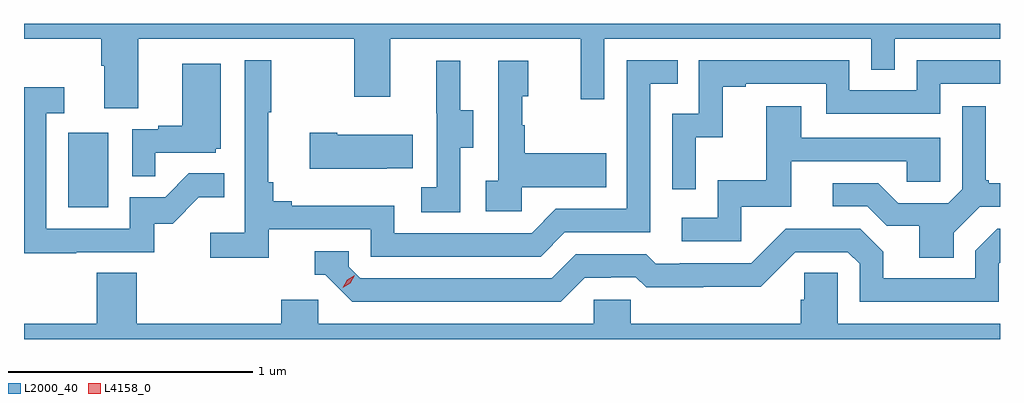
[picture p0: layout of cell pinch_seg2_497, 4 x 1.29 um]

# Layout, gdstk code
import gdstk
lib = gdstk.Library(unit=1e-6, precision=1e-09)
def R(c, l, rs):  # rectangles x0, y0, x1, y1
    for r in rs: c.add(gdstk.rectangle(r[:2], r[2:], *l))
def P(c, l, *ps):  # polygons
    for p in ps: c.add(gdstk.Polygon(p, *l))
L2000_40 = (2000, 40)
L4158_0 = (4158, 0)

pinch_seg2_497 = lib.new_cell('pinch_seg2_497')
R(pinch_seg2_497, L2000_40, [(972.512,584.34,972.676,584.647)])
P(pinch_seg2_497, L2000_40, [(972.799,585.032),(973.684,585.032),(973.684,584.793),(973.831,584.793),(973.831,585.032),(974.612,585.032),(974.612,584.784),(974.709,584.784),(974.709,585.032),(975.804,585.032),(975.804,584.905),(975.9,584.905),(975.9,585.032),(976.331,585.032),(976.331,585.093),(972.331,585.093),(972.331,585.032),(972.647,585.032),(972.647,584.92),(972.659,584.92),(972.659,584.746),(972.799,584.746)],
  [(973.334,584.25),(973.752,584.25),(973.752,584.139),(974.449,584.139),(974.548,584.238),(974.898,584.238),(974.898,584.847),(975.011,584.847),(975.011,584.943),(974.802,584.943),(974.802,584.334),(974.511,584.334),(974.412,584.235),(973.848,584.235),(973.848,584.347),(973.429,584.347),(973.429,584.366),(973.352,584.366),(973.352,584.443),(973.333,584.443),(973.333,584.731),(973.345,584.731),(973.345,584.944),(973.236,584.944),(973.236,584.236),(973.095,584.236),(973.095,584.134),(973.334,584.134)],
  [(975.084,584.627),(975.194,584.627),(975.194,584.835),(975.289,584.835),(975.289,584.847),(975.618,584.847),(975.618,584.724),(976.086,584.724),(976.086,584.847),(976.331,584.847),(976.331,584.943),(975.99,584.943),(975.99,584.82),(975.714,584.82),(975.714,584.943),(975.096,584.943),(975.096,584.724),(974.988,584.724),(974.988,584.415),(975.084,584.415)],
  [(974.118,584.584),(974.173,584.584),(974.173,584.739),(974.119,584.739),(974.119,584.941),(974.021,584.941),(974.021,584.727),(974.022,584.727),(974.022,584.423),(973.959,584.423),(973.959,584.32),(974.118,584.32)],
  [(974.37,584.423),(974.717,584.423),(974.717,584.563),(974.383,584.563),(974.383,584.678),(974.373,584.678),(974.373,584.796),(974.398,584.796),(974.398,584.941),(974.274,584.941),(974.274,584.45),(974.223,584.45),(974.223,584.325),(974.37,584.325)],
  [(972.869,584.565),(973.116,584.565),(973.116,584.58),(973.138,584.58),(973.138,584.929),(972.98,584.929),(972.98,584.674),(972.881,584.674),(972.881,584.661),(972.774,584.661),(972.774,584.467),(972.869,584.467)],
  [(972.545,584.157),(972.864,584.157),(972.864,584.274),(972.94,584.274),(973.047,584.381),(973.151,584.381),(973.151,584.48),(973.007,584.48),(972.909,584.382),(972.765,584.382),(972.765,584.253),(972.423,584.253),(972.423,584.727),(972.496,584.727),(972.496,584.833),(972.331,584.833),(972.331,584.152),(972.545,584.152)],
  [(975.27,584.343),(975.475,584.343),(975.475,584.529),(975.949,584.529),(975.949,584.445),(976.086,584.445),(976.086,584.625),(975.517,584.625),(975.517,584.755),(975.373,584.755),(975.373,584.452),(975.174,584.452),(975.174,584.298),(975.027,584.298),(975.027,584.202),(975.27,584.202)],
  [(976.141,584.236),(976.248,584.343),(976.331,584.343),(976.331,584.44),(976.285,584.44),(976.285,584.452),(976.273,584.452),(976.273,584.755),(976.176,584.755),(976.176,584.415),(976.119,584.358),(975.913,584.358),(975.832,584.439),(975.645,584.439),(975.645,584.346),(975.786,584.346),(975.866,584.266),(976.001,584.266),(976.001,584.134),(976.141,584.134)],
  [(973.817,584.501),(973.925,584.501),(973.925,584.638),(973.615,584.638),(973.615,584.646),(973.503,584.646),(973.503,584.498),(973.817,584.498)],
  [(974.629,584.052),(974.736,584.052),(974.736,584.055),(974.839,584.055),(974.881,584.013),(975.114,584.013),(975.114,584.015),(975.35,584.015),(975.492,584.157),(975.708,584.157),(975.756,584.109),(975.756,583.953),(976.326,583.953),(976.326,584.109),(976.331,584.114),(976.331,584.253),(976.32,584.253),(976.23,584.163),(976.23,584.049),(975.853,584.049),(975.853,584.159),(975.759,584.253),(975.453,584.253),(975.312,584.112),(975.019,584.112),(975.019,584.109),(974.92,584.109),(974.881,584.148),(974.592,584.148),(974.493,584.049),(973.71,584.049),(973.662,584.097),(973.662,584.16),(973.523,584.16),(973.523,584.064),(973.566,584.064),(973.677,583.953),(974.53,583.953)],
  [(976.331,583.864),(975.666,583.864),(975.666,584.072),(975.529,584.072),(975.529,583.962),(975.515,583.962),(975.515,583.864),(974.817,583.864),(974.817,583.962),(974.667,583.962),(974.667,583.864),(973.536,583.864),(973.536,583.962),(973.385,583.962),(973.385,583.864),(972.794,583.864),(972.794,584.072),(972.629,584.072),(972.629,583.864),(972.331,583.864),(972.331,583.8),(976.331,583.8)])
P(pinch_seg2_497, L4158_0, [(973.638,584.011),(973.638,584.012),(973.655,584.044),(973.686,584.063),(973.686,584.063),(973.686,584.063),(973.669,584.03),(973.638,584.011)])

lib.write_gds('pinch_seg2_497.gds')
